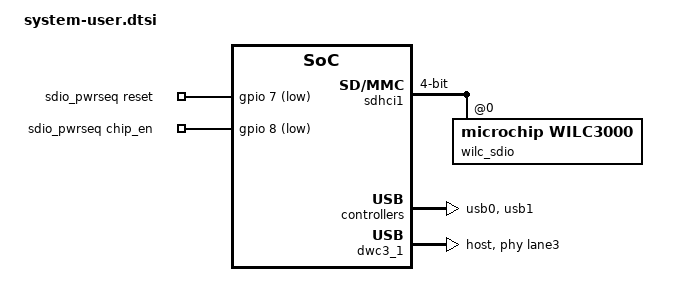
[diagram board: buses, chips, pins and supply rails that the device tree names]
/include/ "openamp.dtsi"
/ {
   sdio_pwrseq: sdio_pwrseq {  /* This needs to be able to manipulate the chip_en and the resetn properly */
      compatible = "mmc-pwrseq-simple";
      /* post-power-on-delay-ms = <10>; */
      reset-gpios = <&gpio 7 1>; // MIO[7] for WILC3000 RESETN, Active low
      /* reset-gpios = <&gpio 78 1>;  // Some prototype boards only! device pin A3 for RESETN, Active low */
      chip_en-gpios = <&gpio 8 1>; 
   };
   chosen {
        bootargs = "earlycon console=ttyPS0,115200 clk_ignore_unused root=/dev/mmcblk0p2 rw rootwait uio_pdrv_genirq.of_id=generic-uio";
        stdout-path = "serial0:115200n8";
   };

   // Remove V1 Power ON/OFF controller from U96 V1 DT
   /delete-node/ ltc2954;

	aliases {
   xlnk {
      compatible = "xlnx,xlnk-1.0";
   };

  };
};

&sdhci1 {
   bus-width= <0x4>;
   /* non-removeable; */
   /* mmc-pwrseq = <&sdio_pwrseq>; */
   max-frequency = <50000000>;
   /delete-property/cap-power-off-card; // This is not compatible with the WILC3000 and means the WILC will always be powered on
   status = "okay";
   #address-cells = <1>;
   #size-cells = <0>;
   wilc_sdio@1 {
      compatible = "microchip,wilc3000", "microchip,wilc3000";
      reg = <0>;
      // interrupt-parent = <&gpio>; // Microchip driver DOES NOT use gpio irq any more!
      // interrupts = <76 2>; /* MIO76 WILC IRQ 1V8 */ // Microchip driver DOES NOT use gpio irq any more!
      // irq-gpios = <&gpio 76 0>; // Microchip driver DOES NOT use gpio irq any more!
      bus-width= <0x4>;
      status = "okay";
   };
   // Remove TI child node from U96 V1 DT
   /delete-node/wifi@2;
};

&usb0 {
   status = "okay";
};


&usb1 {
   status = "okay";
};

&dwc3_1 {
   status = "okay";
	dr_mode = "host";
	phy-names = "usb3-phy";
	phys = <&lane3 4 1 0 26000000>;
	maximum-speed = "super-speed";
};

&amba {
	zyxclmm_drm {
		compatible = "xlnx,zocl";
		status = "okay";
		interrupt-parent = <&axi_intc_0>;
		interrupts = <0  4>, <1  4>, <2  4>, <3  4>,
			     <4  4>, <5  4>, <6  4>, <7  4>,
			     <8  4>, <9  4>, <10 4>, <11 4>,
			     <12 4>, <13 4>, <14 4>, <15 4>,
			     <16 4>, <17 4>, <18 4>, <19 4>,
			     <20 4>, <21 4>, <22 4>, <23 4>,
			     <24 4>, <25 4>, <26 4>, <27 4>,
			     <28 4>, <29 4>, <30 4>, <31 4>;
	};
};

&axi_intc_0 {
xlnx,kind-of-intr = <0x0>;
xlnx,num-intr-inputs = <0x20>;
interrupt-parent = <&gic>;
interrupts = <0 89 4>;
};
